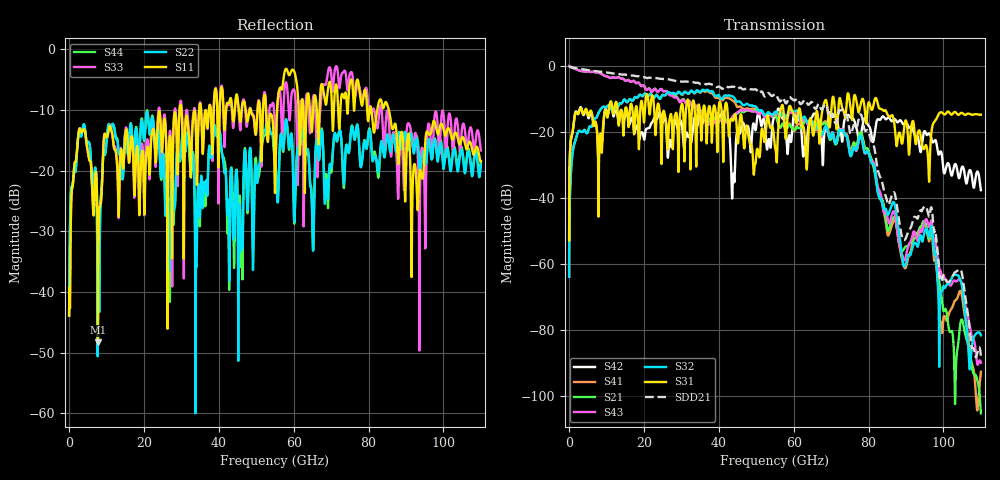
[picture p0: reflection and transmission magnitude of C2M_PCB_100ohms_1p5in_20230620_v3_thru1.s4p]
! Info: Touchstone file created by Circ.  Input file=C2M_PCB_100ohms_1p5in_20230620_v3.circ
# Hz S RI R 50
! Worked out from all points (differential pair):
!   11000 points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, 10 MHz to 110 GHz, reference 50 ohm
!   strongest paths, dB at 10 MHz, 27.51 GHz, 55.01 GHz, 82.51 GHz, 110 GHz:
!     S31: -52.8, -18.2, -24.6, -11.7, -14.8
!     S32: -63.8, -8.3, -13.9, -38.6, -81.5
!     S43: -0.1, -8.9, -14.2, -37.0, -89.8
!     S21: -0.1, -8.7, -14.8, -38.2, -105.2
!     S41: -63.8, -8.5, -15.0, -36.9, -92.6
!     S42: -52.6, -24.1, -15.3, -16.1, -37.6
!   taken as a pair (ports 3,1 in; 4,2 out), SDD21 dB: -0.1, -4.3, -8.5, -31.6, -87.8
!   lowest |S11| = -48.3 dB at 7.72 GHz (marker M1), VSWR 1.01, Z = 49.6 - j0.0152 ohm
!   |S11| at or under -10 dB: start of sweep to 29.53 GHz; 30.02 GHz to 34.77 GHz (4.753 GHz wide, 14.7 % of centre); 85.4 GHz to end of sweep (the widest 3 of 23)
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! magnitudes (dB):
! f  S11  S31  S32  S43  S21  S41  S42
! 10 MHz  -43.9  -52.8  -63.8  -0.1  -0.1  -63.8  -52.6
! 3.83 GHz  -13.2  -14.6  -19.6  -1.6  -1.6  -19.6  -14.9
! 7.72 GHz  -48.3  -27.2  -14.6  -2.0  -2.0  -14.6  -26.3
! 11.08 GHz  -12.9  -10.7  -12.7  -3.6  -3.6  -12.7  -11.7
! 77.92 GHz  -8.4  -11.4  -21.2  -21.3  -20.1  -20.2  -20.3
! 89.5 GHz  -19.7  -18.4  -60.6  -58.8  -55.2  -60.8  -17.5
! 110 GHz  -18.5  -14.8  -81.5  -89.8  -105.2  -92.6  -37.6
